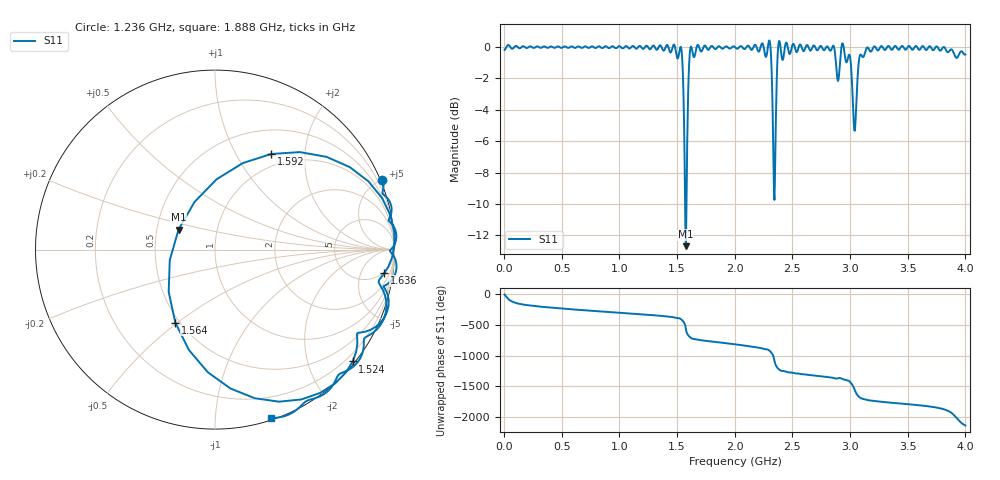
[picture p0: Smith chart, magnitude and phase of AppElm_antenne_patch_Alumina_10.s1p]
! TOUCHSTONE file generated by CST MICROWAVE STUDIO
! Date and time: Thu Jun  9 09:13:20 2022
! Project name: AppElm_antenne_patch_Alumina.cst
! Parameters = {L=30.5; W=41.8; e=0.035; h=1.6; lambda=0.190476; ls=90; w0=1.344; w1=0.373; ws=90; y0=14; y1=10}
! Header version: 2018
! Port assignment regex: !\s*Touchstone port\s*([0-9]+)\s*=\s*(CST MWS port|CST DS port)\s*([0-9]+|Zmin|Zmax)\s*\(\"(.*)\"\)(\s*mode\s*([0-9]+))?.*
! Touchstone port assignment:
! Touchstone port 1 = CST MWS port 1 ("")
# GHz S MA R 50
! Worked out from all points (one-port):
!   1000 points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, 4 MHz to 4 GHz, reference 50 ohm
!   lowest |S11| = -12.7 dB at 1.576 GHz (marker M1), VSWR 1.60, Z = 32.4 + j7.67 ohm
!   |S11| at or under -10 dB: 1.569 GHz to 1.581 GHz (11.84 MHz wide, 0.752 % of centre)
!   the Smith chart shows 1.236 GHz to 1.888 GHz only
!   S11 on the Smith chart (normalised r, x): 1.236 GHz: -0.13, +5.00; 1.524 GHz: 0.05, -2.82; 1.564 GHz: 0.47, -0.49; 1.592 GHz: 0.82, +1.41; 1.636 GHz: 5, -13; 1.888 GHz: 0.01, -1.38
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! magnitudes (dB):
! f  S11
! 4 MHz  -0.2
! 504 MHz  0.0
! 1.004 GHz  0.1
! 1.236 GHz  0.1
! 1.504 GHz  -0.7
! 1.524 GHz  -0.1
! 1.544 GHz  -0.7
! 1.564 GHz  -6.7
! 1.576 GHz  -12.7
! 1.592 GHz  -4.2
! 1.612 GHz  -0.2
! 1.636 GHz  -0.4
! 1.888 GHz  -0.1
! 2.004 GHz  0.0
! 2.296 GHz  0.4
! 2.308 GHz  0.1
! 2.344 GHz  -9.7
! 2.384 GHz  0.4
! 2.504 GHz  0.2
! 2.848 GHz  0.0
! 2.896 GHz  -2.2
! 2.936 GHz  0.2
! 3.004 GHz  -0.8
! 3.04 GHz  -5.3
! 3.084 GHz  -0.6
! 3.144 GHz  -0.1
! 3.504 GHz  0.0
! 4 GHz  -0.5
